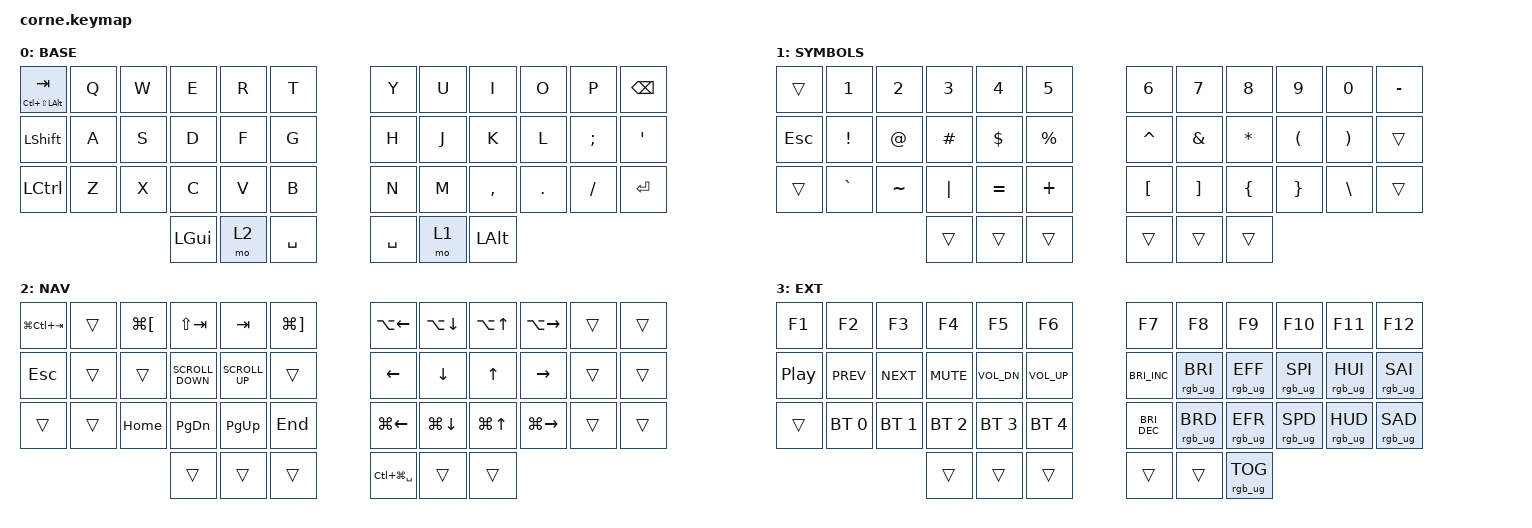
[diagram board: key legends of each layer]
/* 
 * ============================== KEYMAP ==============================
 * 
 * Description:     Setup keymap configurations
 * Author:          K. RAVJI
 * 
 * Keymap General:  https://zmk.dev/docs/keymaps
 * Keymap Codes:    https://zmk.dev/docs/keymaps/list-of-keycodes#f-keys
*/


#include <behaviors.dtsi>
#include <dt-bindings/zmk/bt.h>
#include <dt-bindings/zmk/keys.h>
#include <dt-bindings/zmk/rgb.h>


// Setup LED Strip (21 backlight + 6 glowlight)
&led_strip {
  chain-length = <27>;
};


#define TAPPING_TERM 200

/ {
  behaviors {
    /*
    * td_lock groups locking functions into one key:
    *  - tap once to lock the host
    *  - tap twice to put the host to sleep
    */

    td_lock: tap_dance_lock {
      compatible = "zmk,behavior-tap-dance";
      label = "TAP_DANCE_LOCK";
      #binding-cells = <0>;
      tapping-term-ms = <TAPPING_TERM>;
      bindings = <&kp LG(LC(Q))>, <&kp LG(LA(C_EJECT))>;
    };
  };

  combos {
    compatible = "zmk,combos";

    Clear_BLE_Profile {
      bindings = <&bt BT_CLR>;
      key-positions = <0 38 5>;
    };

    Space {
      bindings = <&kp SPACE>;
      key-positions = <29 28>;
    };

    Enter {
      bindings = <&kp ENTER>;
      key-positions = <17 16>;
    };

    Capslock {
      bindings = <&kp CLCK>;
      key-positions = <5 6>;
    };
  };

  macros {
    git_status: git_status {
      compatible = "zmk,behavior-macro";
      #binding-cells = <0>;
      bindings = <&kp G &kp I &kp T &kp SPACE &kp S &kp T &kp A &kp T &kp U &kp S>;
      label = "GIT_STATUS";
    };
    git_commit_all: git_commit_all {
      compatible = "zmk,behavior-macro";
      #binding-cells = <0>;
      bindings = <&kp G &kp I &kp T &kp SPACE &kp C &kp O &kp M &kp M &kp I &kp T &kp SPACE &kp MINUS &kp A &kp MINUS &kp M &kp SPACE &kp DQT &kp DQT &kp LEFT_ARROW>;
      label = "GIT_COMMIT";
    };
  };

  keymap {
    compatible = "zmk,keymap";
// ------------------------------------------------------------------------------------------------------
// | TAB  |   Q   |   W   |   E   |   R   |  T    |       |  Y    |  U      |  I        | O | P | BKSP  |
// | SHFT |   A   |   S   |   D   |   F   |  G    |       |  H    |  J      |  K        | L | ; |   '   |
// | CTRL |   Z   |   X   |   C   |   V   |  B    |       |  N    |  M      |  ,        | . | - | ENTER |
//                        |  WIN  |  NAV  | SPACE |       | SPACE | SYMBOL  | LEFT ALT  |
    base_layer {
      label = "BASE";
      bindings = <
&mt LC(LS(LALT)) TAB  &kp Q   &kp W   &kp E         &kp R   &kp T       &kp Y       &kp U   &kp I       &kp O     &kp P       &kp BSPC
&kp LSHIFT            &kp A   &kp S   &kp D         &kp F   &kp G       &kp H       &kp J   &kp K       &kp L     &kp SEMI    &kp SINGLE_QUOTE
&kp LEFT_CONTROL      &kp Z   &kp X   &kp C         &kp V   &kp B       &kp N       &kp M   &kp COMMA   &kp DOT   &kp SLASH   &kp ENTER
                                      &kp LEFT_GUI  &mo 2   &kp SPACE   &kp SPACE   &mo 1   &kp LEFT_ALT
      >;
    };

    symbols_layer {
// ----------------------------------------------------------------------------------
// |      |  1  |  2  |  3  |  4  |  5  |       |  6  |  7  |  8  |  9  |  0  |  -  |
// | ESC  |  !  |  @  |  #  |  $  |  %  |       |  ^  |  &  |  *  |  (  |  )  |     |
// |      |  `  |  ~  |  |  |  =  |  +  |       |  [  |  {  |  }  |  ]  |  \  |     |
//                    |     |     |     |       |     |     |     |
      label = "SYMBOLS";
      bindings = <
&trans    &kp N1      &kp N2      &kp N3      &kp N4        &kp N5      &kp N6            &kp N7              &kp N8          &kp N9            &kp N0          &kp MINUS
&kp ESC   &kp EXCL    &kp AT      &kp HASH    &kp DLLR      &kp PRCNT   &kp CARET         &kp AMPS            &kp ASTERISK    &kp LPAR          &kp RPAR        &trans
&trans    &kp GRAVE   &kp TILDE   &kp PIPE    &kp EQUAL     &kp PLUS    &kp LEFT_BRACKET  &kp RIGHT_BRACKET   &kp LEFT_BRACE  &kp RIGHT_BRACE   &kp BACKSLASH   &trans
                                  &trans      &trans        &trans      &trans            &trans              &trans
      >;
    };

    nav_layer {
// ------------------------------------------------------------------------------------------------------------------------------------
// | GUI+CTRL+TAB |       | LGUI+[  | SHFT+TAB  | TAB       | GUI+] |       | ALT+LEFT  | F8        | F9        | F10         | F11       | F12       |
// | ESC          |       |         | SCROLL DN | SCROLL UP |       |       | BRI+      | RGB BRI+  | RGB EFF+  | RGB SPEED+  | RGB HUE+  | RGB SAT+  |
// |              |       | HOME    | PAGE DN   | PAGE UP   | END   |       | BRI-      | RGB BRI-  | RGB EFF-  | RGB SPEED-  | RGB HUE-  | RGB SAT-  |
//                                  |           |           |       |       |           |           |           |
      label = "NAV";
      bindings = <
&kp LG(LC(TAB))   &trans    &kp LG(LEFT_BRACKET)  &kp LS(TAB)        &kp TAB          &kp LG(RIGHT_BRACKET)   &kp LA(LEFT)        &kp LA(DOWN)  &kp LA(UP)  &kp LA(RIGHT)   &trans    &trans
&kp ESC           &trans    &trans                &kp K_SCROLL_DOWN  &kp K_SCROLL_UP  &trans                  &kp LEFT            &kp DOWN      &kp UP      &kp RIGHT       &trans    &trans
&trans            &trans    &kp HOME              &kp PG_DN          &kp PG_UP        &kp END                 &kp LG(LEFT)        &kp LG(DOWN)  &kp LG(UP)  &kp LG(RIGHT)   &trans    &trans
                                                  &trans             &trans           &trans                  &kp LC(LG(SPACE))   &trans        &trans
      >;
    };

    extended_layer {
// ------------------------------------------------------------------------------------------------------------------------------------
// | F1         | F2    | F3    | F4    | F5    | F6    |       | F7    | F8        | F9        | F10         | F11       | F12       |
// | PLAY/PAUSE | PREV  | NEXT  | MUTE  | VOL+  | VOL+  |       | BRI+  | RGB BRI+  | RGB EFF+  | RGB SPEED+  | RGB HUE+  | RGB SAT+  |
// |            | BT 0  | BT 1  | BT 2  | BT 3  | BT 4  |       | BRI-  | RGB BRI-  | RGB EFF-  | RGB SPEED-  | RGB HUE-  | RGB SAT-  |
//                              |       |       |       |       |       |           |           |
      label = "EXT";
      bindings = <
&kp F1        &kp F2        &kp F3          &kp F4        &kp F5          &kp F6          &kp F7                &kp F8            &kp F9            &kp F10           &kp F11           &kp F12
&kp C_PP      &kp C_PREV    &kp C_NEXT      &kp C_MUTE    &kp C_VOL_DN    &kp C_VOL_UP    &kp C_BRIGHTNESS_INC  &rgb_ug RGB_BRI   &rgb_ug RGB_EFF   &rgb_ug RGB_SPI   &rgb_ug RGB_HUI   &rgb_ug RGB_SAI
&trans        &bt BT_SEL 0  &bt BT_SEL 1    &bt BT_SEL 2  &bt BT_SEL 3    &bt BT_SEL 4    &kp C_BRIGHTNESS_DEC  &rgb_ug RGB_BRD   &rgb_ug RGB_EFR   &rgb_ug RGB_SPD   &rgb_ug RGB_HUD   &rgb_ug RGB_SAD
                                            &trans        &trans          &trans          &trans                &trans            &rgb_ug RGB_TOG
      >;
    };
  };

  conditional_layers {
    compatible = "zmk,conditional-layers";

    Activate_EXT {
      if-layers = <1 2>;
      then-layer = <3>;
    };
  };
};
